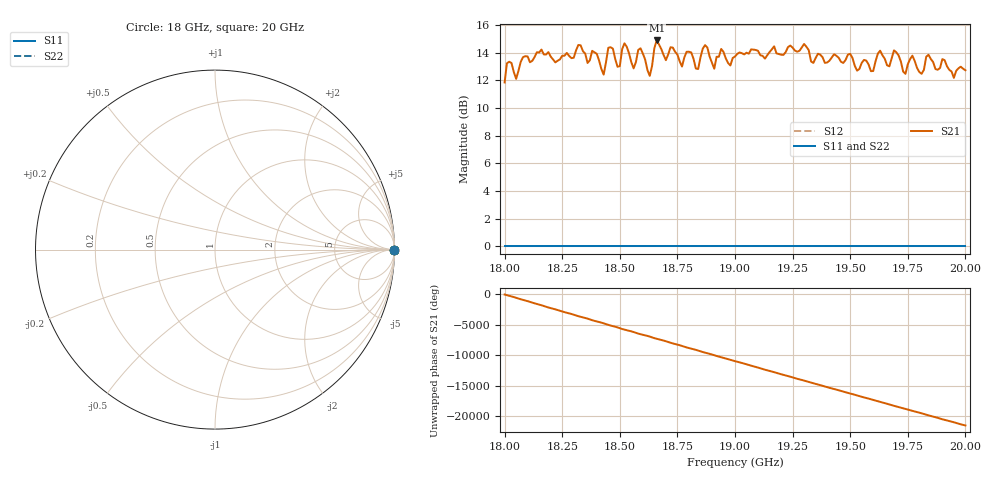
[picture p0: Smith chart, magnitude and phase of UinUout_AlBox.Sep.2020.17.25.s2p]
!Agilent N9918A: A.07.57
!Date: Monday, 21 September 2020 17:25:54
!Timezone: (GMT-08:00) Pacific Time (US & Canada)
!Model: N9918A
!Serial: MY53103598
!GPS Latitude:
!GPS Longitude:
!GPS TimeStamp: 0001-01-01 00:00:00Z
!GPS Seconds Since Last Read: 0
!CHECKSUM:0509019056
!Correction: S11()S21(Rdy)S12()S22()
!S2P File: Measurements:S11,S21,S12,S22:
# Hz S DB R 50
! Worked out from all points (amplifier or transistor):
!   201 points, 18 GHz to 20 GHz, reference 50 ohm
!   highest |S21| = 14.9 dB at 18.66 GHz (marker M1)
!   |S21| within 3 dB of that: 18 GHz to end of sweep
!   unconditionally stable (mu >= 1): nowhere
!   at 18.33 GHz: K = 2.89, MSG = 7.3 dB, |S12| = 0.0 dB
!   at 19 GHz: K = 3.43, MSG = 6.9 dB, |S12| = 0.0 dB
!   at 20 GHz: K = 1.83, MSG = 6.4 dB, |S12| = 0.0 dB
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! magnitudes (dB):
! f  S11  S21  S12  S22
! 18 GHz  0.0  11.9  0.0  0.0
! 18.02 GHz  0.0  13.4  0.0  0.0
! 18.05 GHz  0.0  12.1  0.0  0.0
! 18.08 GHz  0.0  13.7  0.0  0.0
! 18.34 GHz  0.0  14.1  0.0  0.0
! 18.43 GHz  0.0  12.4  0.0  0.0
! 18.45 GHz  0.0  14.4  0.0  0.0
! 18.5 GHz  0.0  13.0  0.0  0.0
! 18.52 GHz  0.0  14.7  0.0  0.0
! 18.56 GHz  0.0  12.9  0.0  0.0
! 18.59 GHz  0.0  14.3  0.0  0.0
! 18.63 GHz  0.0  12.3  0.0  0.0
! 18.66 GHz  0.0  14.9  0.0  0.0
! 18.67 GHz  0.0  14.6  0.0  0.0
! 18.77 GHz  0.0  13.0  0.0  0.0
! 18.87 GHz  0.0  14.6  0.0  0.0
! 18.91 GHz  0.0  12.8  0.0  0.0
! 19 GHz  0.0  13.7  0.0  0.0
! 19.3 GHz  0.0  14.6  0.0  0.0
! 19.34 GHz  0.0  13.3  0.0  0.0
! 19.67 GHz  0.0  13.0  0.0  0.0
! 20 GHz  0.0  12.7  0.0  0.0
